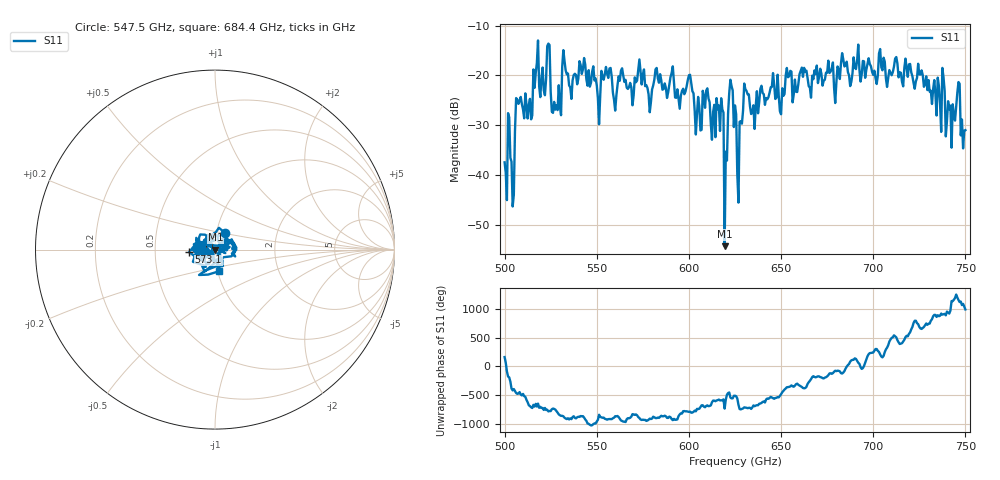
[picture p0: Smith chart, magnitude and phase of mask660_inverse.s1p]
!Created with skrf (http://scikit-rf.org).
# GHz S MA R 50.0
!freq magS11 angS11
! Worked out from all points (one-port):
!   401 points, 500 GHz to 750 GHz, reference 50 ohm
!   lowest |S11| = -54.3 dB at 619.4 GHz (marker M1), VSWR 1.00, Z = 50.2 - j0.0376 ohm
!   |S11| at or under -10 dB: start of sweep to end of sweep
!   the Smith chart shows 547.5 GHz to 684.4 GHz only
!   S11 on the Smith chart (normalised r, x): 547.5 GHz: 1.09, +0.21; 573.1 GHz: 0.75, -0.02; 684.4 GHz: 1.01, -0.25
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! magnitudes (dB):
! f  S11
! 500 GHz  -37.4
! 504.4 GHz  -46.3
! 507.5 GHz  -25.7
! 513.8 GHz  -24.7
! 516.9 GHz  -19.6
! 520.6 GHz  -18.4
! 523.8 GHz  -13.6
! 526.9 GHz  -25.3
! 531.2 GHz  -18.2
! 547.5 GHz  -19.3
! 562.5 GHz  -21.1
! 573.1 GHz  -16.8
! 593.8 GHz  -22.8
! 616.2 GHz  -26.0
! 619.4 GHz  -54.3
! 620.6 GHz  -37.1
! 622.5 GHz  -20.9
! 625 GHz  -26.0
! 627.5 GHz  -29.3
! 631.2 GHz  -23.1
! 635 GHz  -26.0
! 656.2 GHz  -25.4
! 684.4 GHz  -18.2
! 687.5 GHz  -22.1
! 718.8 GHz  -20.3
! 741.2 GHz  -26.8
! 745.6 GHz  -23.5
! 750 GHz  -31.0
